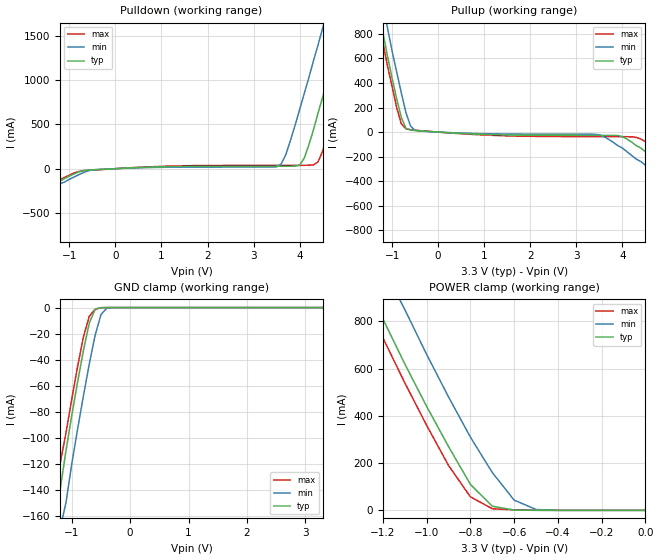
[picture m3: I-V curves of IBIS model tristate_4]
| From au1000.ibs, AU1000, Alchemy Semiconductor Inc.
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|   Model tristate_4
[Model]   tristate_4
Model_type   I/O
Polarity   Non-Inverting
Vinl = 0.660V
Vinh = 2.640V
Enable   Active-High
C_comp   1.25pF   1.20pF   1.30pF
[Temperature Range]   27.00   100.00   0.000
[Voltage Range]   3.30V   3.00V   3.60V
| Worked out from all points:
|   slope of the pulldown table from 0 to 0.495 V, typ, clamps not added: 38.2 ohm
|   slope of the pullup table from 0 to 0.495 V, typ, clamps not added: 45.9 ohm
|   GND clamp passes 1 mA (typ) near -0.58 V on its own axis
|   POWER clamp passes 1 mA (typ) near -0.58 V on its own axis
[Pulldown]
| voltage   I(typ)   I(min)   I(max)
-3.3V     -720mA     -760mA     -710mA
-1.2V     -140mA     -170mA     -120mA
-500mV    -14.37mA   -13.12mA   -16.17mA
3.5V      27.79mA    21.13mA    36.89mA
3.7V      27.86mA    160mA      36.96mA
4V        40.03mA    670mA      37.15mA
4.3V      440mA      1.22A      42.62mA
4.5V      810mA      1.59A      200mA
4.9V      1.56A      2.33A      920mA
5.2V      2.12A      2.89A      1.48A
5.3V      2.31A      3.07A      1.67A
6.6V      4.75A      5.48A      4.13A
[Pullup]
| voltage   I(typ)   I(min)   I(max)
-3.3V     4.75A      4.93A      4.69A
-1.3V     1A         1.22A      920mA
-1.2V     810mA      1.03A      730mA
-1.1V     620mA      850mA      540mA
-800mV    120mA      320mA      68.22mA
-700mV    31.19mA    160mA      25.81mA
-600mV    16.26mA    50.16mA    19.66mA
-500mV    12.91mA    12.75mA    15.54mA
3.4V      -27.06mA   -17.87mA   -37.18mA
4V        -36.94mA   -130mA     -37.59mA
4.6V      -190mA     -300mA     -100mA
6.6V      -750mA     -860mA     -660mA
[GND_clamp]
| voltage   I(typ)   I(min)   I(max)
-3.3V     -720mA     -760mA     -710mA
-1.4V     -190mA     -230mA     -180mA
-1.3V     -160mA     -200mA     -150mA
-1.2V     -140mA     -170mA     -120mA
-1.1V     -110mA     -150mA     -96.36mA
-1V       -82.72mA   -120mA     -70.17mA
-800mV    -32.65mA   -67.63mA   -22.37mA
-700mV    -11.86mA   -43.2mA    -6.68mA
-600mV    -1.23mA    -21.19mA   -1.3mA
-500mV    -49.23uA   -5.33mA    -130uA
-400mV    -2.14uA    -410uA     -6.5uA
3.3V      10pA       1.04nA     -10pA
[POWER_clamp]
| voltage   I(typ)   I(min)   I(max)
-3.3V     4.75A      4.92A      4.69A
-1.3V     1A         1.22A      920mA
-1.2V     810mA      1.03A      730mA
-1.1V     620mA      850mA      540mA
-1V       440mA      660mA      360mA
-900mV    270mA      480mA      190mA
-800mV    110mA      310mA      57.26mA
-700mV    17.65mA    160mA      6.88mA
-600mV    1.22mA     43.35mA    2.16mA
-500mV    120uA      3.64mA     500uA
-400mV    9.35uA     180uA      38.34uA
0V        50pA       1.95nA     80pA
[Ramp]
| variable   typ   min   max
dV/dt_r   1.11/0.16ns   0.82/0.24ns   1.34/0.13ns
dV/dt_f   1.32/0.21ns   0.74/0.23ns   1.45/0.15ns
R_load = 0.10k
| End [Model] tristate_4
